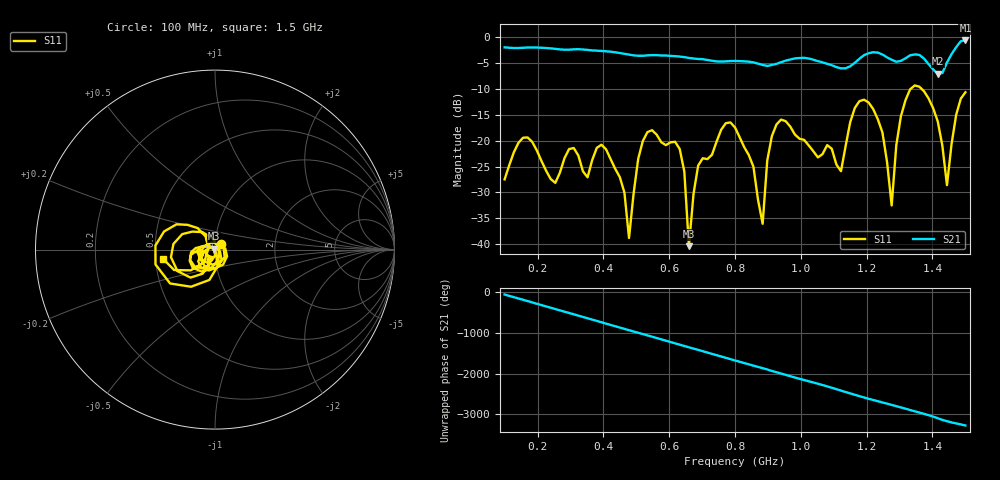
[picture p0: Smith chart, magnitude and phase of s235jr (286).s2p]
! NanoVNA-App
! Date: 2025-09-25 15:06:23
! Start: 100MHz Stop: 1,5GHz Points: 101
! S-Parameter data: F S11 S21 S12 S22
# Hz S RI R 50
!  Frequency  S11_Real  S11_Imag  S21_Real  S21_Imag  S12_Real  S12_Imag  S22_Real  S22_Imag
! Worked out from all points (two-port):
!   101 points, 100 MHz to 1.5 GHz, reference 50 ohm
!   highest |S21| = -0.63 dB at 1.5 GHz (marker M1); lowest = -7.1 dB at 1.416 GHz (marker M2)
!   |S21| within 3 dB of the highest: start of sweep to 608.6 MHz; 1.189 GHz to 1.255 GHz (66.39 MHz wide, 5.43 % of centre) (the widest 2 of 4)
!   lowest |S11| = -40.4 dB at 660 MHz (marker M3), VSWR 1.02, Z = 49.2 + j0.527 ohm
!   |S11| at or under -10 dB: start of sweep to 1.333 GHz; 1.367 GHz to end of sweep
!   S12 and S22 are empty: the file has one direction only
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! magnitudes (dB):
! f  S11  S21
! 100 MHz  -27.5  -2.0
! 156 MHz  -19.4  -2.0
! 338 MHz  -25.9  -2.4
! 408 MHz  -21.6  -2.7
! 478 MHz  -38.8  -3.4
! 520 MHz  -20.0  -3.6
! 576 MHz  -20.3  -3.5
! 632 MHz  -21.6  -3.7
! 660 MHz  -40.4  -4.0
! 688 MHz  -24.8  -4.2
! 800 MHz  -17.4  -4.6
! 884 MHz  -36.1  -5.4
! 926 MHz  -16.9  -5.2
! 1.038 GHz  -22.0  -4.3
! 1.122 GHz  -25.9  -6.0
! 1.206 GHz  -12.6  -3.1
! 1.248 GHz  -18.4  -3.4
! 1.276 GHz  -32.5  -4.4
! 1.332 GHz  -10.1  -3.5
! 1.416 GHz  -16.3  -7.1
! 1.444 GHz  -28.6  -4.9
! 1.5 GHz  -10.6  -0.6
